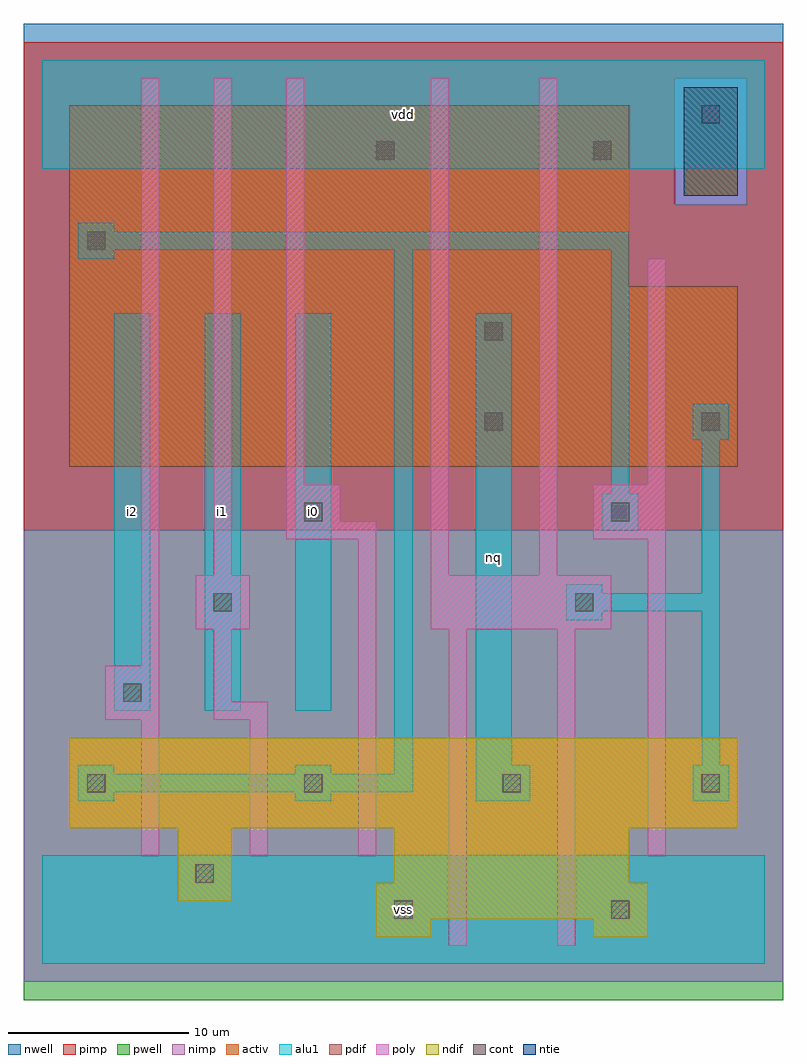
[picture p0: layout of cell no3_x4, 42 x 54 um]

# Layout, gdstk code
import gdstk
lib = gdstk.Library(unit=1e-6, precision=1e-09)
def R(c, l, rs):  # rectangles x0, y0, x1, y1
    for r in rs: c.add(gdstk.rectangle(r[:2], r[2:], *l))
def A(c, l, x, y, w, h, nx, ny, dx, dy):  # array of equal rectangles
    R(c, l, [(x+i*dx, y+j*dy, x+i*dx+w, y+j*dy+h) for i in range(nx) for j in range(ny)])
ndif = (3, 0)
pdif = (4, 0)
ntie = (5, 0)
cont = (25, 0)
pwell = (41, 0)
nwell = (42, 0)
activ = (43, 0)
pimp = (44, 0)
nimp = (45, 0)
poly = (46, 0)
alu1 = (49, 0)

no3_x4 = lib.new_cell('no3_x4')
R(no3_x4, ndif, [(18.5,1.5,21.5,2.5), (30.5,1.5,33.5,2.5), (18.5,2.5,33.5,4.5), (7.5,3.5,10.5,7.5), (19.5,4.5,32.5,7.5), (1.5,7.5,38.5,12.5)])
R(no3_x4, pdif, [(1.5,27.5,38.5,37.5), (1.5,37.5,32.5,47.5)])
R(no3_x4, ntie, [(35.5,42.5,38.5,48.5)])
A(no3_x4, cont, 14.5, 9.5, 1, 1, 3, 1, 11, 0)
R(no3_x4, cont, [(19.5,2.5,20.5,3.5), (31.5,2.5,32.5,3.5), (8.5,4.5,9.5,5.5), (2.5,9.5,3.5,10.5), (4.5,14.5,5.5,15.5), (9.5,19.5,10.5,20.5), (29.5,19.5,30.5,20.5), (14.5,24.5,15.5,25.5), (31.5,24.5,32.5,25.5), (24.5,29.5,25.5,30.5), (36.5,29.5,37.5,30.5), (24.5,34.5,25.5,35.5), (2.5,39.5,3.5,40.5), (18.5,44.5,19.5,45.5), (30.5,44.5,31.5,45.5), (36.5,46.5,37.5,47.5)])
R(no3_x4, pwell, [(-1,-2,41,24)])
R(no3_x4, nwell, [(-1,24,41,52)])
R(no3_x4, activ, [(18.5,1.5,21.5,2.5), (30.5,1.5,33.5,2.5), (18.5,2.5,33.5,4.5), (7.5,3.5,10.5,7.5), (19.5,4.5,32.5,7.5), (1.5,7.5,38.5,12.5), (1.5,27.5,38.5,37.5), (1.5,37.5,32.5,47.5), (35.5,42.5,38.5,48.5)])
R(no3_x4, pimp, [(-1,24,41,42), (-1,42,35,49), (39,42,41,49), (-1,49,41,51)])
R(no3_x4, nimp, [(-1,-1,41,24), (35,42,39,49)])
R(no3_x4, poly, [(22.5,1,23.5,18.5), (28.5,1,29.5,18.5), (5.5,6,6.5,13.5), (11.5,6,12.5,13.5), (17.5,6,18.5,23.5), (33.5,6,34.5,23.5), (3.5,13.5,6.5,16.5), (9.5,13.5,12.5,14.5), (9.5,14.5,10.5,18.5), (5.5,16.5,6.5,49), (8.5,18.5,11.5,21.5), (21.5,18.5,31.5,21.5), (9.5,21.5,10.5,49), (21.5,21.5,22.5,49), (27.5,21.5,28.5,49), (13.5,23.5,18.5,24.5), (30.5,23.5,34.5,26.5), (13.5,24.5,16.5,26.5), (13.5,26.5,14.5,49), (33.5,26.5,34.5,39)])
A(no3_x4, alu1, 4, 14, 2, 22, 3, 1, 5, 0)
R(no3_x4, alu1, [(0,0,40,6), (2,9,4,9.5), (14,9,16,9.5), (24,9,27,11), (36,9,38,11), (2,9.5,20.5,10.5), (2,10.5,4,11), (14,10.5,16,11), (19.5,10.5,20.5,39.5), (24,11,26,36), (36.5,11,37.5,19.5), (29,19,31,19.5), (29,19.5,37.5,20.5), (29,20.5,31,21), (36.5,20.5,37.5,29), (31,24,33,26), (31.5,26,32.5,39.5), (36,29,38,31), (2,39,4,39.5), (2,39.5,32.5,40.5), (2,40.5,4,41), (0,44,40,50)])
no3_x4.add(gdstk.Label('i2', (5,25), layer=49, texttype=0))
no3_x4.add(gdstk.Label('i0', (15,25), layer=49, texttype=0))
no3_x4.add(gdstk.Label('i1', (10,25), layer=49, texttype=0))
no3_x4.add(gdstk.Label('vss', (20,3), layer=49, texttype=0))
no3_x4.add(gdstk.Label('nq', (25,22.5), layer=49, texttype=0))
no3_x4.add(gdstk.Label('vdd', (20,47), layer=49, texttype=0))

lib.write_gds('no3_x4.gds')
